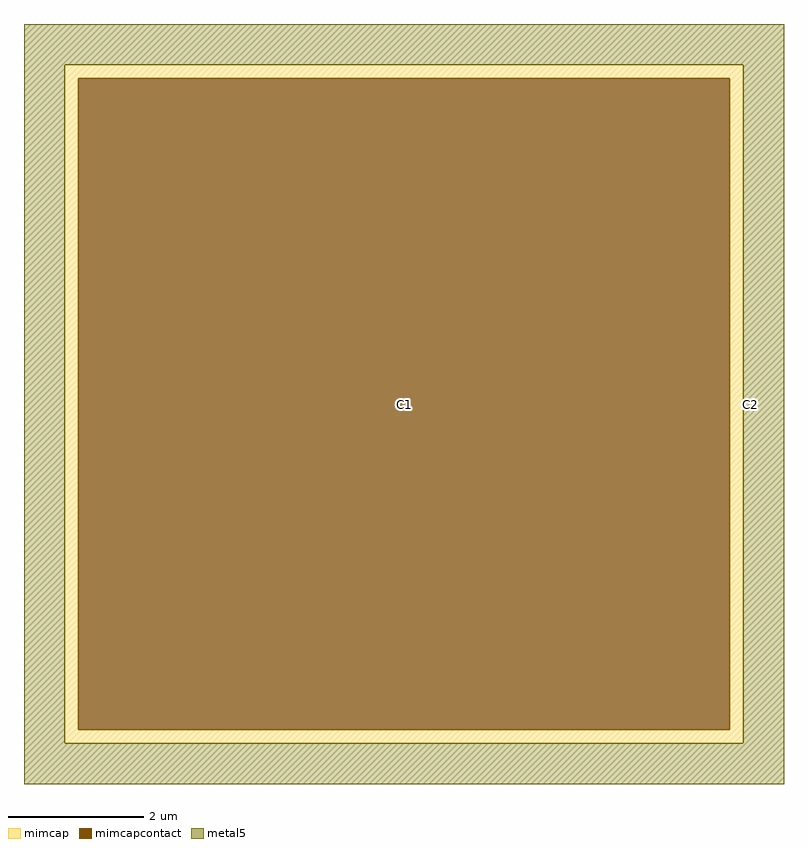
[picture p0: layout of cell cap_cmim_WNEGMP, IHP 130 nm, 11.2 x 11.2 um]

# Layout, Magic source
magic
tech ihp-sg13g2
<< metal5 >>
rect -560 500 560 560
rect -560 -500 -500 500
rect 500 -500 560 500
rect -560 -560 560 -500
<< mimcap >>
rect -500 480 500 500
rect -500 -480 -480 480
rect 480 -480 500 480
rect -500 -500 500 -480
<< mimcapcontact >>
rect -480 -480 480 480
<< labels >>
rlabel mimcapcontact 0 0 0 0 0 C1
port 1 nsew
rlabel metal5 510 0 510 0 0 C2
port 2 nsew
<< properties >>
string FIXED_BBOX -560 -560 560 560
string gencell cap_cmim
string library sg13g2
string parameters w 10 l 10 val 157.6 carea 1.50 cperi 0.19 class capacitor compatible {cap_cmim cap_rfcmim} nx 1 ny 1 dummy 0 square 0 lmin 2.00 wmin 2.00 lmax 30.0 wmax 30.0 dc 0 tabwidth 1.0 upcontact 0 bconnect 1 tconnect 1 ccov 100 doports 1
<< end >>
